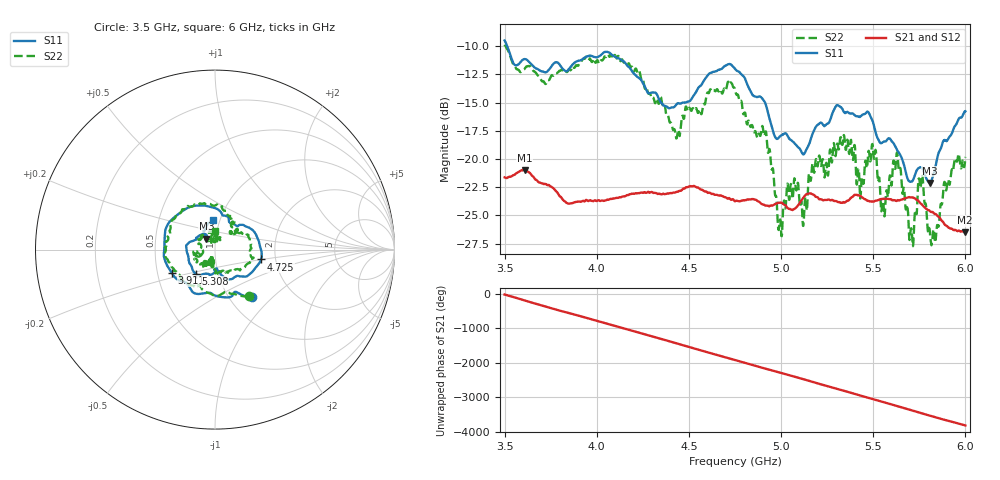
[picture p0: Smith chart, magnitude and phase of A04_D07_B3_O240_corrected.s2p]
! Created with skrf 1.9.0 (http://scikit-rf.org).
# Hz S RI R 50.0
!freq ReS11 ImS11 ReS21 ImS21 ReS12 ImS12 ReS22 ImS22
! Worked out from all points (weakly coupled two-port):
!   1601 points, 3.5 GHz to 6 GHz, reference 50 ohm
!   highest |S21| = -20.97 dB at 3.609 GHz (marker M1); lowest = -26.5 dB at 5.995 GHz (marker M2)
!   lowest |S11| = -22.1 dB at 5.806 GHz (marker M3), VSWR 1.17, Z = 45.1 + j5.59 ohm
!   |S11| at or under -10 dB: 3.514 GHz to end of sweep
!   |S22| runs from -27.7 to -9.9 dB; largest |S21 - S12| = 0.0011
!   S11 on the Smith chart (normalised r, x): 3.5 GHz: 1.26, -0.76; 3.911 GHz: 0.59, -0.17; 4.725 GHz: 1.68, -0.20; 5.308 GHz: 0.78, -0.22; 6 GHz: 0.93, +0.31
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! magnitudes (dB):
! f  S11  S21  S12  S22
! 3.5 GHz  -9.5  -21.6  -21.6  -9.9
! 3.609 GHz  -11.1  -21.0  -21.0  -12.0
! 3.911 GHz  -11.3  -23.8  -23.8  -11.4
! 3.917 GHz  -11.2  -23.8  -23.7  -11.3
! 4.334 GHz  -14.6  -23.1  -23.1  -15.1
! 4.439 GHz  -15.1  -22.9  -22.9  -17.7
! 4.725 GHz  -11.6  -23.6  -23.5  -13.3
! 4.75 GHz  -12.0  -23.8  -23.7  -13.9
! 4.909 GHz  -14.9  -24.1  -24.0  -18.0
! 4.994 GHz  -18.0  -23.9  -23.8  -25.5
! 5.081 GHz  -18.8  -24.3  -24.3  -22.7
! 5.128 GHz  -19.5  -23.3  -23.3  -24.0
! 5.167 GHz  -17.9  -23.1  -23.1  -20.8
! 5.308 GHz  -15.2  -23.8  -23.8  -18.7
! 5.553 GHz  -18.5  -23.5  -23.5  -23.7
! 5.584 GHz  -18.2  -23.6  -23.5  -22.5
! 5.638 GHz  -19.4  -23.7  -23.6  -20.8
! 5.708 GHz  -22.0  -23.4  -23.4  -26.3
! 5.758 GHz  -20.7  -24.0  -23.9  -22.5
! 5.806 GHz  -22.1  -24.6  -24.6  -26.3
! 5.995 GHz  -15.8  -26.5  -26.4  -20.6
! 6 GHz  -15.8  -26.5  -26.5  -19.8
